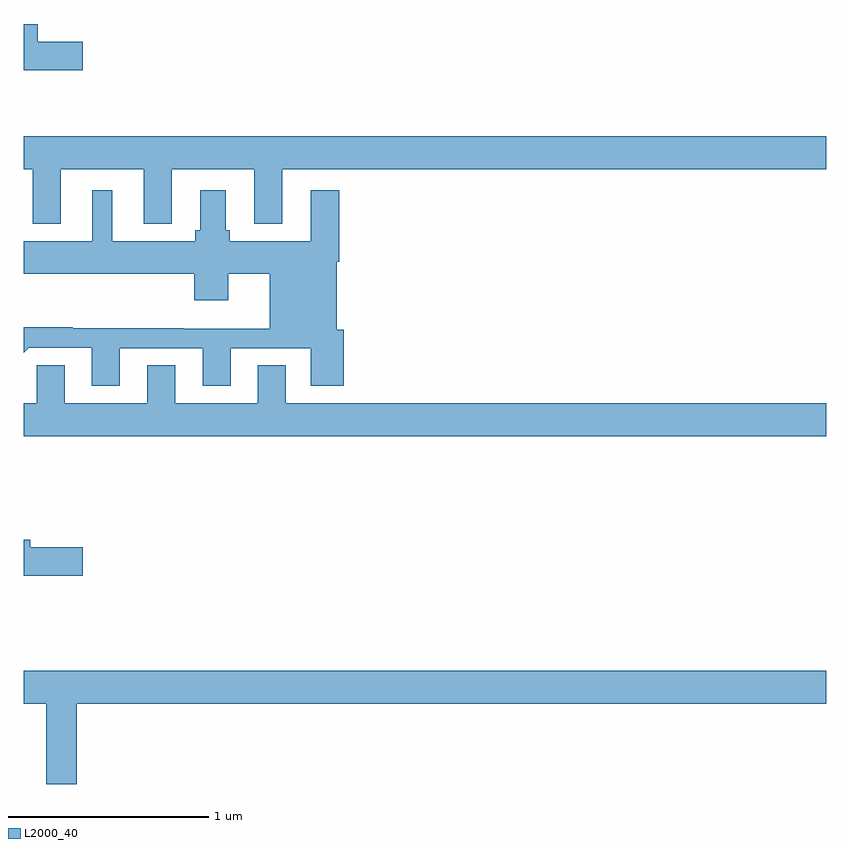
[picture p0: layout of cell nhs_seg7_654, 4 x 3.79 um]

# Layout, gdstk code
import gdstk
lib = gdstk.Library(unit=1e-6, precision=1e-09)
def P(c, l, *ps):  # polygons
    for p in ps: c.add(gdstk.Polygon(p, *l))
L2000_40 = (2000, 40)

nhs_seg7_654 = lib.new_cell('nhs_seg7_654')
P(nhs_seg7_654, L2000_40, [(161.293,1007.912),(161.069,1007.912),(161.069,1008),(161,1008),(161,1007.77),(161.293,1007.77)],
  [(161.185,1007.276),(161.597,1007.276),(161.597,1007.003),(161.737,1007.003),(161.737,1007.276),(162.149,1007.276),(162.149,1007.003),(162.289,1007.003),(162.289,1007.276),(165,1007.276),(165,1007.44),(161,1007.44),(161,1007.276),(161.045,1007.276),(161.045,1007.003),(161.185,1007.003)],
  [(161.479,1006.383),(161.891,1006.383),(161.891,1006.197),(162.031,1006.197),(162.031,1006.383),(162.431,1006.383),(162.431,1006.197),(162.596,1006.197),(162.596,1006.476),(162.559,1006.476),(162.559,1006.814),(162.572,1006.814),(162.572,1007.17),(162.431,1007.17),(162.431,1006.918),(162.027,1006.918),(162.027,1006.971),(162.007,1006.971),(162.007,1007.17),(161.879,1007.17),(161.879,1006.971),(161.854,1006.971),(161.854,1006.918),(161.44,1006.918),(161.44,1007.17),(161.342,1007.17),(161.342,1006.918),(161,1006.918),(161,1006.754),(161.849,1006.754),(161.849,1006.623),(162.019,1006.623),(162.019,1006.754),(162.227,1006.754),(162.227,1006.48),(161.795,1006.48),(161.795,1006.484),(161.243,1006.484),(161.243,1006.487),(161,1006.487),(161,1006.361),(161.025,1006.386),(161.339,1006.386),(161.339,1006.197),(161.479,1006.197)],
  [(165,1006.108),(162.307,1006.108),(162.307,1006.298),(162.167,1006.298),(162.167,1006.108),(161.755,1006.108),(161.755,1006.298),(161.615,1006.298),(161.615,1006.108),(161.203,1006.108),(161.203,1006.298),(161.064,1006.298),(161.064,1006.108),(161,1006.108),(161,1005.944),(165,1005.944)],
  [(161.293,1005.392),(161.032,1005.392),(161.032,1005.428),(161,1005.428),(161,1005.25),(161.293,1005.25)],
  [(161,1004.612),(161.111,1004.612),(161.111,1004.211),(161.264,1004.211),(161.264,1004.612),(165,1004.612),(165,1004.776),(161,1004.776)])

lib.write_gds('nhs_seg7_654.gds')
